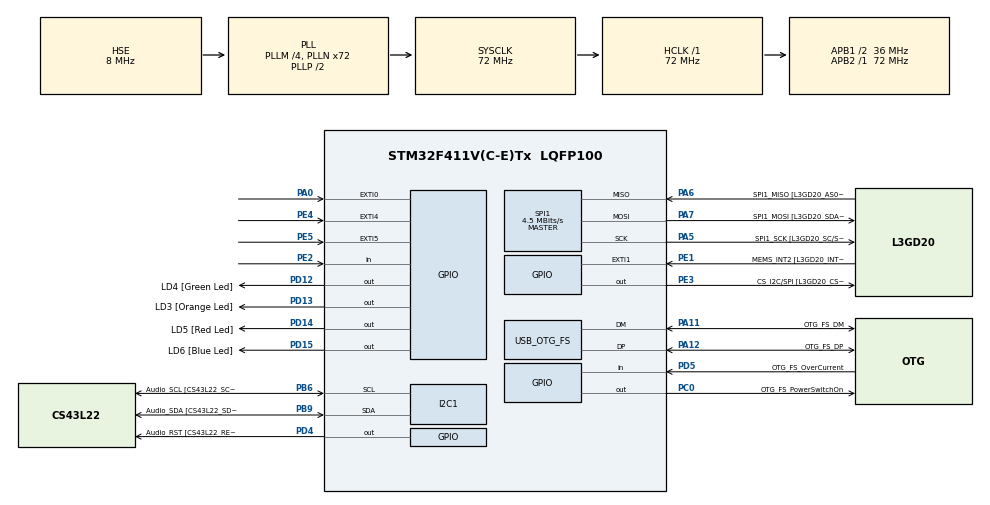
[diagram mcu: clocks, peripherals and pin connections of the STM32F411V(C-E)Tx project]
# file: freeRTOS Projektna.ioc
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FREERTOS.Tasks01=defaultTask,24,128,StartDefaultTask,Default,NULL,Dynamic,NULL,NULL
FREERTOS.configUSE_NEWLIB_REENTRANT=1
I2C1.DutyCycle=I2C_DUTYCYCLE_16_9
I2C1.I2C_Mode=I2C_Fast
Mcu.Family=STM32F4
Mcu.Name=STM32F411V(C-E)Tx
Mcu.Package=LQFP100
NVIC.OTG_FS_IRQn=true\:5\:0\:false\:false\:true\:true\:false\:true\:true
NVIC.PriorityGroup=NVIC_PRIORITYGROUP_4
NVIC.TIM4_IRQn=true\:15\:0\:false\:false\:true\:false\:false\:true\:true
NVIC.TimeBase=TIM4_IRQn
NVIC.TimeBaseIP=TIM4
PA0-WKUP.GPIO_ModeDefaultEXTI=GPIO_MODE_EVT_RISING
PA0-WKUP.Signal=GPXTI0
PA10.GPIO_Label=OTG_FS_ID
PA10.Signal=USB_OTG_FS_ID
PA11.GPIO_Label=OTG_FS_DM
PA11.Mode=Device_Only
PA11.Signal=USB_OTG_FS_DM
PA12.GPIO_Label=OTG_FS_DP
PA12.Mode=Device_Only
PA12.Signal=USB_OTG_FS_DP
PA13.GPIO_Label=SWDIO
PA13.Mode=Serial_Wire
PA13.Signal=SYS_JTMS-SWDIO
PA14.GPIO_Label=SWCLK
PA14.Mode=Serial_Wire
PA14.Signal=SYS_JTCK-SWCLK
PA4.GPIO_Label=I2S3_WS [CS43L22_LRCK]
PA4.GPIO_Mode=GPIO_MODE_AF_PP
PA4.GPIO_PuPd=GPIO_NOPULL
PA4.GPIO_Speed=GPIO_SPEED_FREQ_LOW
PA4.Signal=I2S3_WS
PA5.GPIO_Label=SPI1_SCK [L3GD20_SC/SPC]
PA5.Mode=Full_Duplex_Master
PA5.Signal=SPI1_SCK
PA6.GPIO_Label=SPI1_MISO [L3GD20_AS0/SDO]
PA6.Mode=Full_Duplex_Master
PA6.Signal=SPI1_MISO
PA7.GPIO_Label=SPI1_MOSI [L3GD20_SDA/SDI/SDO]
PA7.Mode=Full_Duplex_Master
PA7.Signal=SPI1_MOSI
PA9.GPIO_Label=VBUS_FS
PA9.Signal=USB_OTG_FS_VBUS
PB10.GPIO_Label=CLK_IN [MP45DT02_CLK]
PB10.Signal=I2S2_CK
PB12.Signal=I2S2_WS
PB3.GPIO_Label=SWO
PB3.Signal=SYS_JTDO-SWO
PB6.GPIO_Label=Audio_SCL [CS43L22_SCL]
PB6.GPIO_Mode=GPIO_MODE_AF_OD
PB6.GPIO_PuPd=GPIO_NOPULL
PB6.GPIO_Speed=GPIO_SPEED_FREQ_LOW
PB6.Mode=I2C
PB6.Signal=I2C1_SCL
PB9.GPIO_Label=Audio_SDA [CS43L22_SDA]
PB9.GPIO_Mode=GPIO_MODE_AF_OD
PB9.GPIO_PuPd=GPIO_NOPULL
PB9.GPIO_Speed=GPIO_SPEED_FREQ_LOW
PB9.Mode=I2C
PB9.Signal=I2C1_SDA
PC0.GPIO_Label=OTG_FS_PowerSwitchOn
PC0.PinState=GPIO_PIN_SET
PC0.Signal=GPIO_Output
PC10.GPIO_Label=I2S3_SCK [CS43L22_SCLK]
PC10.GPIO_Mode=GPIO_MODE_AF_PP
PC10.GPIO_PuPd=GPIO_NOPULL
PC10.GPIO_Speed=GPIO_SPEED_FREQ_LOW
PC10.Signal=I2S3_CK
PC12.GPIO_Label=I2S3_SD [CS43L22_SDIN]
PC12.GPIO_Mode=GPIO_MODE_AF_PP
PC12.GPIO_PuPd=GPIO_NOPULL
PC12.GPIO_Speed=GPIO_SPEED_FREQ_LOW
PC12.Signal=I2S3_SD
PC14-OSC32_IN.GPIO_Label=PC14-OSC32_IN
PC14-OSC32_IN.Signal=RCC_OSC32_IN
PC15-OSC32_OUT.GPIO_Label=PC15-OSC32_OUT
PC15-OSC32_OUT.Signal=RCC_OSC32_OUT
PC3.GPIO_Label=PDM_OUT [MP45DT02_DOUT]
PC3.Signal=I2S2_SD
PC7.GPIO_Label=I2S3_MCK [CS43L22_MCLK]
PC7.GPIO_Mode=GPIO_MODE_AF_PP
PC7.GPIO_PuPd=GPIO_NOPULL
PC7.GPIO_Speed=GPIO_SPEED_FREQ_LOW
PC7.Signal=I2S3_MCK
PD12.GPIO_Label=LD4 [Green Led]
PD12.GPIO_PuPd=GPIO_NOPULL
PD12.GPIO_Speed=GPIO_SPEED_FREQ_LOW
PD12.Signal=GPIO_Output
PD13.GPIO_Label=LD3 [Orange Led]
PD13.GPIO_PuPd=GPIO_NOPULL
PD13.GPIO_Speed=GPIO_SPEED_FREQ_LOW
PD13.Signal=GPIO_Output
PD14.GPIO_Label=LD5 [Red Led]
PD14.GPIO_PuPd=GPIO_NOPULL
PD14.GPIO_Speed=GPIO_SPEED_FREQ_LOW
PD14.Signal=GPIO_Output
PD15.GPIO_Label=LD6 [Blue Led]
PD15.GPIO_PuPd=GPIO_NOPULL
PD15.GPIO_Speed=GPIO_SPEED_FREQ_LOW
PD15.Signal=GPIO_Output
PD4.GPIO_Label=Audio_RST [CS43L22_RESET]
PD4.Signal=GPIO_Output
PD5.GPIO_Label=OTG_FS_OverCurrent
PD5.Signal=GPIO_Input
PE1.GPIO_Label=MEMS_INT2 [L3GD20_INT2]
PE1.GPIO_ModeDefaultEXTI=GPIO_MODE_EVT_RISING
PE1.Signal=GPXTI1
PE2.Signal=GPIO_Input
PE3.GPIO_Label=CS_I2C/SPI [L3GD20_CS_I2C/SPI]
PE3.GPIO_Speed=GPIO_SPEED_FREQ_HIGH
PE3.Signal=GPIO_Output
PE4.GPIO_ModeDefaultEXTI=GPIO_MODE_EVT_RISING
PE4.Signal=GPXTI4
PE5.GPIO_ModeDefaultEXTI=GPIO_MODE_EVT_RISING
PE5.Signal=GPXTI5
PH0\ -\ OSC_IN.GPIO_Label=PH0-OSC_IN
PH0\ -\ OSC_IN.Mode=HSE-External-Oscillator
PH0\ -\ OSC_IN.Signal=RCC_OSC_IN
PH1\ -\ OSC_OUT.GPIO_Label=PH1-OSC_OUT
PH1\ -\ OSC_OUT.Mode=HSE-External-Oscillator
PH1\ -\ OSC_OUT.Signal=RCC_OSC_OUT
ProjectManager.HeapSize=0x200
ProjectManager.StackSize=0x400
ProjectManager.TargetToolchain=STM32CubeIDE
RCC.48MHZClocksFreq_Value=48000000
RCC.AHBFreq_Value=72000000
RCC.APB1CLKDivider=RCC_HCLK_DIV2
RCC.APB1Freq_Value=36000000
RCC.APB1TimFreq_Value=72000000
RCC.APB2Freq_Value=72000000
RCC.APB2TimFreq_Value=72000000
RCC.CortexFreq_Value=72000000
RCC.HCLKFreq_Value=72000000
RCC.HSE_VALUE=8000000
RCC.HSI_VALUE=16000000
RCC.LSE_VALUE=32768
RCC.PLLI2SM=5
RCC.PLLI2SN=200
RCC.PLLM=4
RCC.PLLN=72
RCC.PLLQ=3
RCC.SYSCLKFreq_VALUE=72000000
RCC.SYSCLKSource=RCC_SYSCLKSOURCE_PLLCLK
RCC.VCOOutputFreq_Value=144000000
SPI1.BaudRatePrescaler=SPI_BAUDRATEPRESCALER_16
SPI1.CLKPhase=SPI_PHASE_2EDGE
SPI1.CLKPolarity=SPI_POLARITY_HIGH
SPI1.CalculateBaudRate=4.5 MBits/s
SPI1.Direction=SPI_DIRECTION_2LINES
SPI1.Mode=SPI_MODE_MASTER
SPI1.VirtualType=VM_MASTER
USB_DEVICE.CLASS_NAME_FS=CDC
USB_DEVICE.VirtualMode=Cdc
USB_DEVICE.VirtualModeFS=Cdc_FS
USB_OTG_FS.VirtualMode=Device_Only
VP_FREERTOS_VS_CMSIS_V2.Mode=CMSIS_V2
VP_SYS_VS_tim4.Mode=TIM4
VP_USB_DEVICE_VS_USB_DEVICE_CDC_FS.Mode=CDC_FS
board=STM32F411E-DISCO

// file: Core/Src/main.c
/* USER CODE BEGIN Header */
/**
  ******************************************************************************
  * @file           : main.c
  * @brief          : Main program body
  ******************************************************************************
  * @attention
  *
  * Copyright (c) 2024 STMicroelectronics.
  * All rights reserved.
  *
  * This software is licensed under terms that can be found in the LICENSE file
  * in the root directory of this software component.
  * If no LICENSE file comes with this software, it is provided AS-IS.
  *
  ******************************************************************************
  */
/* USER CODE END Header */
#include "main.h"
#include "cmsis_os.h"
#include "usb_device.h"

/* USER CODE BEGIN Includes */
#include "FreeRTOS.h"
#include "task.h"
#include "queue.h"
/* USER CODE END Includes */

I2C_HandleTypeDef hi2c1;

SPI_HandleTypeDef hspi1;

/* Definitions for defaultTask */
osThreadId_t defaultTaskHandle;
const osThreadAttr_t defaultTask_attributes = {
  .name = "defaultTask",
  .stack_size = 128 * 4,
  .priority = (osPriority_t) osPriorityNormal,
};
/* USER CODE BEGIN PV */
QueueHandle_t QueueGyro;
QueueHandle_t QueueAccel;
/* USER CODE END PV */

void SystemClock_Config(void);
static void MX_GPIO_Init(void);
static void MX_I2C1_Init(void);
static void MX_SPI1_Init(void);
void StartDefaultTask(void *argument);

/* USER CODE BEGIN PFP */
//void TaskTestA(void *pvParameters);
//void TaskTestB(void *pvParameters);

void TaskReadGyro(void *pvParameters);
void TaskReadAccel(void *pvParameters);
void TaskSendGyro(void *pvParameters);
void TaskSendAccel(void *pvParameters);

void initGyro(void);
void initAccel(void);

uint8_t spi1_beriRegister(uint8_t);
void spi1_beriRegistre(uint8_t, uint8_t*, uint8_t);
void spi1_pisiRegister(uint8_t, uint8_t);

uint8_t i2c1_pisiRegister(uint8_t, uint8_t, uint8_t);
void i2c1_beriRegistre(uint8_t, uint8_t, uint8_t*, uint8_t);
void initAccel(void);
//GYRO INIT
//POSPES INIT

//SPI PROTOCOL BRANJE IN PISANJE
//POSILJANJE USB

//TASK BRANJE GYRO
//TASK BRANJE POSPESKO

//TASK POSILJANJE GYRO //BLOCKING KO JE Q PRAZEN
//TASK POSILJANJE POSPESKO // BLOCKING KO JE Q PRAZEN

//Q GYRO
//Q POSPESKO

//INTERUPT ?

/* USER CODE END PFP */

/* USER CODE BEGIN 0 */

uint8_t spi1_beriRegister(uint8_t reg) {
    uint16_t buf_out, buf_in;
    reg |= 0x80; // najpomembnejsi bit na 1
    buf_out = reg; // little endian, se postavi na pravo mesto ....
    HAL_GPIO_WritePin(GPIOE, GPIO_PIN_3, GPIO_PIN_RESET);
    HAL_SPI_TransmitReceive(&hspi1, (uint8_t*)&buf_out, (uint8_t*)&buf_in, 2, 2); // blocking posiljanje ....
    HAL_GPIO_WritePin(GPIOE, GPIO_PIN_3, GPIO_PIN_SET);
    return buf_in >> 8; // little endian...
}

void spi1_pisiRegister(uint8_t reg, uint8_t vrednost) {
    uint16_t buf_out;
    buf_out = reg | (vrednost<<8); // little endian, se postavi na pravo mesto ....
    HAL_GPIO_WritePin(GPIOE, GPIO_PIN_3, GPIO_PIN_RESET);
    HAL_SPI_Transmit(&hspi1, (uint8_t*)&buf_out, 2, 2); // blocking posiljanje ....
    HAL_GPIO_WritePin(GPIOE, GPIO_PIN_3, GPIO_PIN_SET);
}

void spi1_beriRegistre(uint8_t reg, uint8_t* buffer, uint8_t velikost) {
    reg |= 0xC0; // najpomembnejsa bita na 1
    HAL_GPIO_WritePin(GPIOE, GPIO_PIN_3, GPIO_PIN_RESET);
    HAL_SPI_Transmit(&hspi1, &reg, 1, 10); // blocking posiljanje....
    HAL_SPI_Receive(&hspi1,  buffer, velikost, velikost); // blocking posiljanje....
    HAL_GPIO_WritePin(GPIOE, GPIO_PIN_3, GPIO_PIN_SET);
}

void initGyro() { // ne pozabit klicat te funkcije
    uint8_t cip = spi1_beriRegister(0x0F);
    if (cip!=0xD4 && cip!=0xD3) {
        for (;;);
    }
    spi1_pisiRegister(0x20, 0x4F); // CTRL_REG1 PD Zen Yen Xen 200hz
    //TUKAJ NASTAVI Hz pa sensitivity +-500dps
    spi1_pisiRegister(0x22, 0x08); //DRDY
    spi1_pisiRegister(0x23, 0x10);
}

uint8_t i2c1_pisiRegister(uint8_t naprava, uint8_t reg, uint8_t podatek) {
    naprava <<= 1;
    return HAL_I2C_Mem_Write(&hi2c1, naprava, reg, I2C_MEMADD_SIZE_8BIT, &podatek, 1, 10);
}

void i2c1_beriRegistre(uint8_t naprava, uint8_t reg, uint8_t* podatek, uint8_t dolzina) {
    if ((dolzina>1)&&(naprava==0x19))  // ce je naprava 0x19 moramo postaviti ta bit, ce zelimo brati vec zlogov
        reg |= 0x80;
    naprava <<= 1;
    HAL_I2C_Mem_Read(&hi2c1, naprava, reg, I2C_MEMADD_SIZE_8BIT, podatek, dolzina, dolzina);
}

void initAccel() { // ne pozabit klicati te funkcije
    // inicializiraj pospeskometer
    i2c1_pisiRegister(0x19, 0x20, 0x27);  // zbudi pospeskometer in omogoci osi
    i2c1_pisiRegister(0x19, 0x23, 0x88);  // nastavi posodobitev samo ko se prebere vrednost ter visoko locljivost
}

//void TaskTestA(void *pvParameters)
//{
//
//	while(1)
//	{
//		HAL_GPIO_TogglePin(GPIOD, GPIO_PIN_14);
//		vTaskDelay(pdMS_TO_TICKS(250));
//	}
//}
//
//
//void TaskTestB(void *pvParameters)
//{
//	while(1)
//	{
//		HAL_GPIO_TogglePin(GPIOD, GPIO_PIN_15);
//		vTaskDelay(pdMS_TO_TICKS(1000));
//	}
//
//
//}

void TaskReadGyro(void *pvParameters){
	int16_t gyroX;
	int16_t gyroY;
	int16_t gyroZ;
	while(1){
		spi1_beriRegistre(0x28, (uint8_t*)&gyroX, 2);
		spi1_beriRegistre(0x2A, (uint8_t*)&gyroY, 2);
		spi1_beriRegistre(0x2C, (uint8_t*)&gyroZ, 2);

		xQueueSendToBack(QueueGyro, &gyroX, 0);
		xQueueSendToBack(QueueGyro, &gyroY, 0);
		xQueueSendToBack(QueueGyro, &gyroZ, 0);
	}
}

void TaskReadAccel(void *pvParameters){
	int16_t accelX;
	int16_t accelY;
	int16_t accelZ;

	while(1){
		i2c1_beriRegistre(0x19, 0x28,(uint8_t*)&accelX, 2);
		i2c1_beriRegistre(0x19, 0x2A,(uint8_t*)&accelY, 2);
		i2c1_beriRegistre(0x19, 0x2C,(uint8_t*)&accelZ, 2);

		xQueueSendToBack(QueueAccel, &accelX, 0);
		xQueueSendToBack(QueueAccel, &accelY, 0);
		xQueueSendToBack(QueueAccel, &accelZ, 0);
	}

}

void TaskSendGyro(void *pvParameters){
	int16_t meritev[4];

	meritev[0] = 0xaaaa;
	const TickType_t xTicksToWait = pdMS_TO_TICKS(100);
	while(1){
		xQueueReceive(QueueGyro, &meritev[1], xTicksToWait);
		xQueueReceive(QueueGyro, &meritev[2], xTicksToWait);
		xQueueReceive(QueueGyro, &meritev[3], xTicksToWait);
		//posli
		CDC_Transmit_FS((uint8_t*)&meritev, sizeof(meritev));

	}
}
void TaskSendAccel(void *pvParameters){
	int16_t meritev[4];

	meritev[0] = 0xbbbb;
	const TickType_t xTicksToWait = pdMS_TO_TICKS(100);
	while(1){
		xQueueReceive(QueueAccel, &meritev[1], xTicksToWait);
		xQueueReceive(QueueAccel, &meritev[2], xTicksToWait);
		xQueueReceive(QueueAccel, &meritev[3], xTicksToWait);
		//posli
		CDC_Transmit_FS((uint8_t*)&meritev, sizeof(meritev));

	}
}
/* USER CODE END 0 */

int main(void)
{

  /* MCU Configuration--------------------------------------------------------*/

  /* Reset of all peripherals, Initializes the Flash interface and the Systick. */
  HAL_Init();

  /* Configure the system clock */
  SystemClock_Config();

  /* Initialize all configured peripherals */
  MX_GPIO_Init();
  MX_I2C1_Init();
  MX_SPI1_Init();
  /* USER CODE BEGIN 2 */
  //__HAL_I2C_ENABLE(&hi2c1);
  __HAL_SPI_ENABLE(&hspi1);
  HAL_GPIO_WritePin(GPIOE, GPIO_PIN_3, GPIO_PIN_SET);

  initGyro();
  //initAccel();
  /* USER CODE END 2 */

  /* Init scheduler */
  osKernelInitialize();

  /* USER CODE BEGIN RTOS_QUEUES */
  /* add queues, ... */
  QueueGyro = xQueueCreate( 5, sizeof( int16_t ) );
  QueueAccel = xQueueCreate( 5, sizeof( int16_t ) );
  /* USER CODE END RTOS_QUEUES */

  /* Create the thread(s) */
  /* creation of defaultTask */
  defaultTaskHandle = osThreadNew(StartDefaultTask, NULL, &defaultTask_attributes);

  /* USER CODE BEGIN RTOS_THREADS */
  /* add threads, ... */
  xTaskCreate(TaskSendGyro, "running branje in posiljanje gyro", configMINIMAL_STACK_SIZE, NULL, 2, NULL);
  xTaskCreate(TaskSendAccel, "running branje in posiljanje accel", configMINIMAL_STACK_SIZE, NULL, 2, NULL);
  xTaskCreate(TaskReadGyro, "running branje in pisanje gyro", configMINIMAL_STACK_SIZE, NULL, 1, NULL);
  xTaskCreate(TaskReadAccel, "running branje in pisanje accel", configMINIMAL_STACK_SIZE, NULL, 1, NULL);
  /* USER CODE END RTOS_THREADS */

  /* Start scheduler */
  osKernelStart();

  /* We should never get here as control is now taken by the scheduler */
  /* Infinite loop */
  while (1)
  {

  }
}

void SystemClock_Config(void)
{
  RCC_OscInitTypeDef RCC_OscInitStruct = {0};
  RCC_ClkInitTypeDef RCC_ClkInitStruct = {0};

  /** Configure the main internal regulator output voltage
  */
  __HAL_RCC_PWR_CLK_ENABLE();
  __HAL_PWR_VOLTAGESCALING_CONFIG(PWR_REGULATOR_VOLTAGE_SCALE1);

  /** Initializes the RCC Oscillators according to the specified parameters
  * in the RCC_OscInitTypeDef structure.
  */
  RCC_OscInitStruct.OscillatorType = RCC_OSCILLATORTYPE_HSE;
  RCC_OscInitStruct.HSEState = RCC_HSE_ON;
  RCC_OscInitStruct.PLL.PLLState = RCC_PLL_ON;
  RCC_OscInitStruct.PLL.PLLSource = RCC_PLLSOURCE_HSE;
  RCC_OscInitStruct.PLL.PLLM = 4;
  RCC_OscInitStruct.PLL.PLLN = 72;
  RCC_OscInitStruct.PLL.PLLP = RCC_PLLP_DIV2;
  RCC_OscInitStruct.PLL.PLLQ = 3;
  if (HAL_RCC_OscConfig(&RCC_OscInitStruct) != HAL_OK)
  {
    Error_Handler();
  }

  /** Initializes the CPU, AHB and APB buses clocks
  */
  RCC_ClkInitStruct.ClockType = RCC_CLOCKTYPE_HCLK|RCC_CLOCKTYPE_SYSCLK
                              |RCC_CLOCKTYPE_PCLK1|RCC_CLOCKTYPE_PCLK2;
  RCC_ClkInitStruct.SYSCLKSource = RCC_SYSCLKSOURCE_PLLCLK;
  RCC_ClkInitStruct.AHBCLKDivider = RCC_SYSCLK_DIV1;
  RCC_ClkInitStruct.APB1CLKDivider = RCC_HCLK_DIV2;
  RCC_ClkInitStruct.APB2CLKDivider = RCC_HCLK_DIV1;

  if (HAL_RCC_ClockConfig(&RCC_ClkInitStruct, FLASH_LATENCY_2) != HAL_OK)
  {
    Error_Handler();
  }
}

static void MX_I2C1_Init(void)
{

  hi2c1.Instance = I2C1;
  hi2c1.Init.ClockSpeed = 400000;
  hi2c1.Init.DutyCycle = I2C_DUTYCYCLE_16_9;
  hi2c1.Init.OwnAddress1 = 0;
  hi2c1.Init.AddressingMode = I2C_ADDRESSINGMODE_7BIT;
  hi2c1.Init.DualAddressMode = I2C_DUALADDRESS_DISABLE;
  hi2c1.Init.OwnAddress2 = 0;
  hi2c1.Init.GeneralCallMode = I2C_GENERALCALL_DISABLE;
  hi2c1.Init.NoStretchMode = I2C_NOSTRETCH_DISABLE;
  if (HAL_I2C_Init(&hi2c1) != HAL_OK)
  {
    Error_Handler();
  }

}

static void MX_SPI1_Init(void)
{

  /* SPI1 parameter configuration*/
  hspi1.Instance = SPI1;
  hspi1.Init.Mode = SPI_MODE_MASTER;
  hspi1.Init.Direction = SPI_DIRECTION_2LINES;
  hspi1.Init.DataSize = SPI_DATASIZE_8BIT;
  hspi1.Init.CLKPolarity = SPI_POLARITY_HIGH;
  hspi1.Init.CLKPhase = SPI_PHASE_2EDGE;
  hspi1.Init.NSS = SPI_NSS_SOFT;
  hspi1.Init.BaudRatePrescaler = SPI_BAUDRATEPRESCALER_16;
  hspi1.Init.FirstBit = SPI_FIRSTBIT_MSB;
  hspi1.Init.TIMode = SPI_TIMODE_DISABLE;
  hspi1.Init.CRCCalculation = SPI_CRCCALCULATION_DISABLE;
  hspi1.Init.CRCPolynomial = 10;
  if (HAL_SPI_Init(&hspi1) != HAL_OK)
  {
    Error_Handler();
  }

}

static void MX_GPIO_Init(void)
{
  GPIO_InitTypeDef GPIO_InitStruct = {0};

  /* GPIO Ports Clock Enable */
  __HAL_RCC_GPIOE_CLK_ENABLE();
  __HAL_RCC_GPIOC_CLK_ENABLE();
  __HAL_RCC_GPIOH_CLK_ENABLE();
  __HAL_RCC_GPIOA_CLK_ENABLE();
  __HAL_RCC_GPIOB_CLK_ENABLE();
  __HAL_RCC_GPIOD_CLK_ENABLE();

  /*Configure GPIO pin Output Level */
  HAL_GPIO_WritePin(CS_I2C_SPI_GPIO_Port, CS_I2C_SPI_Pin, GPIO_PIN_RESET);

  /*Configure GPIO pin Output Level */
  HAL_GPIO_WritePin(OTG_FS_PowerSwitchOn_GPIO_Port, OTG_FS_PowerSwitchOn_Pin, GPIO_PIN_SET);

  /*Configure GPIO pin Output Level */
  HAL_GPIO_WritePin(GPIOD, LD4_Pin|LD3_Pin|LD5_Pin|LD6_Pin
                          |Audio_RST_Pin, GPIO_PIN_RESET);

  /*Configure GPIO pin : PE2 */
  GPIO_InitStruct.Pin = GPIO_PIN_2;
  GPIO_InitStruct.Mode = GPIO_MODE_INPUT;
  GPIO_InitStruct.Pull = GPIO_NOPULL;
  HAL_GPIO_Init(GPIOE, &GPIO_InitStruct);

  /*Configure GPIO pin : CS_I2C_SPI_Pin */
  GPIO_InitStruct.Pin = CS_I2C_SPI_Pin;
  GPIO_InitStruct.Mode = GPIO_MODE_OUTPUT_PP;
  GPIO_InitStruct.Pull = GPIO_NOPULL;
  GPIO_InitStruct.Speed = GPIO_SPEED_FREQ_HIGH;
  HAL_GPIO_Init(CS_I2C_SPI_GPIO_Port, &GPIO_InitStruct);

  /*Configure GPIO pins : PE4 PE5 MEMS_INT2_Pin */
  GPIO_InitStruct.Pin = GPIO_PIN_4|GPIO_PIN_5|MEMS_INT2_Pin;
  GPIO_InitStruct.Mode = GPIO_MODE_EVT_RISING;
  GPIO_InitStruct.Pull = GPIO_NOPULL;
  HAL_GPIO_Init(GPIOE, &GPIO_InitStruct);

  /*Configure GPIO pin : OTG_FS_PowerSwitchOn_Pin */
  GPIO_InitStruct.Pin = OTG_FS_PowerSwitchOn_Pin;
  GPIO_InitStruct.Mode = GPIO_MODE_OUTPUT_PP;
  GPIO_InitStruct.Pull = GPIO_NOPULL;
  GPIO_InitStruct.Speed = GPIO_SPEED_FREQ_LOW;
  HAL_GPIO_Init(OTG_FS_PowerSwitchOn_GPIO_Port, &GPIO_InitStruct);

  /*Configure GPIO pin : PDM_OUT_Pin */
  GPIO_InitStruct.Pin = PDM_OUT_Pin;
  GPIO_InitStruct.Mode = GPIO_MODE_AF_PP;
  GPIO_InitStruct.Pull = GPIO_NOPULL;
  GPIO_InitStruct.Speed = GPIO_SPEED_FREQ_LOW;
  GPIO_InitStruct.Alternate = GPIO_AF5_SPI2;
  HAL_GPIO_Init(PDM_OUT_GPIO_Port, &GPIO_InitStruct);

  /*Configure GPIO pin : PA0 */
  GPIO_InitStruct.Pin = GPIO_PIN_0;
  GPIO_InitStruct.Mode = GPIO_MODE_EVT_RISING;
  GPIO_InitStruct.Pull = GPIO_NOPULL;
  HAL_GPIO_Init(GPIOA, &GPIO_InitStruct);

  /*Configure GPIO pin : I2S3_WS_Pin */
  GPIO_InitStruct.Pin = I2S3_WS_Pin;
  GPIO_InitStruct.Mode = GPIO_MODE_AF_PP;
  GPIO_InitStruct.Pull = GPIO_NOPULL;
  GPIO_InitStruct.Speed = GPIO_SPEED_FREQ_LOW;
  GPIO_InitStruct.Alternate = GPIO_AF6_SPI3;
  HAL_GPIO_Init(I2S3_WS_GPIO_Port, &GPIO_InitStruct);

  /*Configure GPIO pins : CLK_IN_Pin PB12 */
  GPIO_InitStruct.Pin = CLK_IN_Pin|GPIO_PIN_12;
  GPIO_InitStruct.Mode = GPIO_MODE_AF_PP;
  GPIO_InitStruct.Pull = GPIO_NOPULL;
  GPIO_InitStruct.Speed = GPIO_SPEED_FREQ_LOW;
  GPIO_InitStruct.Alternate = GPIO_AF5_SPI2;
  HAL_GPIO_Init(GPIOB, &GPIO_InitStruct);

  /*Configure GPIO pins : LD4_Pin LD3_Pin LD5_Pin LD6_Pin
                           Audio_RST_Pin */
  GPIO_InitStruct.Pin = LD4_Pin|LD3_Pin|LD5_Pin|LD6_Pin
                          |Audio_RST_Pin;
  GPIO_InitStruct.Mode = GPIO_MODE_OUTPUT_PP;
  GPIO_InitStruct.Pull = GPIO_NOPULL;
  GPIO_InitStruct.Speed = GPIO_SPEED_FREQ_LOW;
  HAL_GPIO_Init(GPIOD, &GPIO_InitStruct);

  /*Configure GPIO pins : I2S3_MCK_Pin I2S3_SCK_Pin I2S3_SD_Pin */
  GPIO_InitStruct.Pin = I2S3_MCK_Pin|I2S3_SCK_Pin|I2S3_SD_Pin;
  GPIO_InitStruct.Mode = GPIO_MODE_AF_PP;
  GPIO_InitStruct.Pull = GPIO_NOPULL;
  GPIO_InitStruct.Speed = GPIO_SPEED_FREQ_LOW;
  GPIO_InitStruct.Alternate = GPIO_AF6_SPI3;
  HAL_GPIO_Init(GPIOC, &GPIO_InitStruct);

  /*Configure GPIO pin : OTG_FS_OverCurrent_Pin */
  GPIO_InitStruct.Pin = OTG_FS_OverCurrent_Pin;
  GPIO_InitStruct.Mode = GPIO_MODE_INPUT;
  GPIO_InitStruct.Pull = GPIO_NOPULL;
  HAL_GPIO_Init(OTG_FS_OverCurrent_GPIO_Port, &GPIO_InitStruct);

}

void StartDefaultTask(void *argument)
{
  /* init code for USB_DEVICE */
  MX_USB_DEVICE_Init();
  for(;;)
  {
    osDelay(1);
  }
}

void HAL_TIM_PeriodElapsedCallback(TIM_HandleTypeDef *htim)
{
  if (htim->Instance == TIM4) {
    HAL_IncTick();
  }
}

void Error_Handler(void)
{
  __disable_irq();
  while (1)
  {
  }
}
